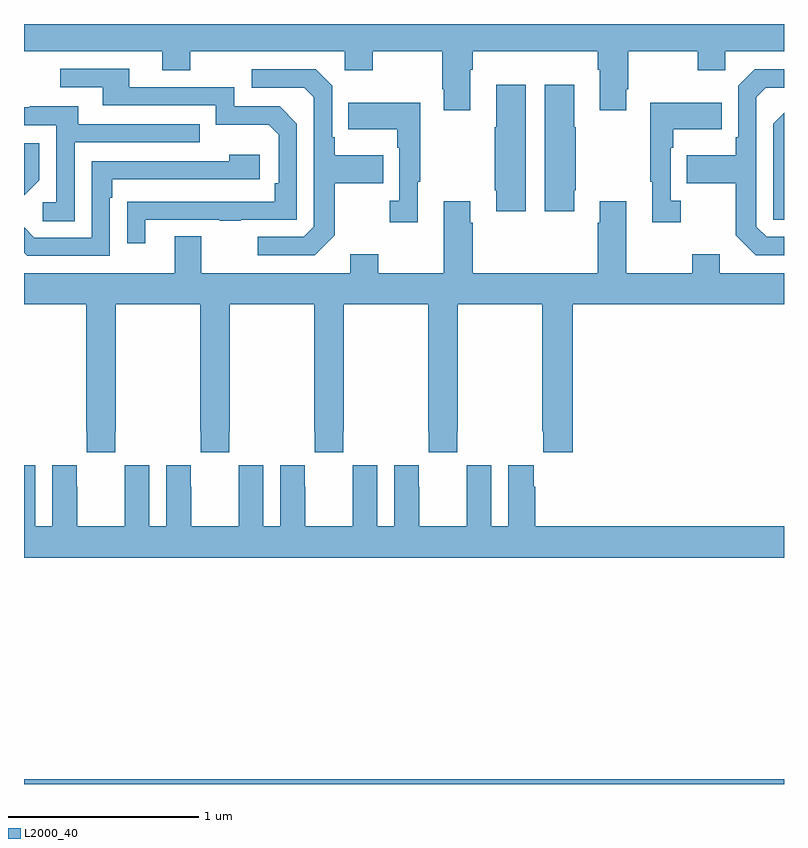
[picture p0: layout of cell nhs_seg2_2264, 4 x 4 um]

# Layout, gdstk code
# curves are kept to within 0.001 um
import gdstk
lib = gdstk.Library(unit=1e-6, precision=1e-09)
def R(c, l, rs):  # rectangles x0, y0, x1, y1
    for r in rs: c.add(gdstk.rectangle(r[:2], r[2:], *l))
def P(c, l, *ps):  # polygons
    for p in ps: c.add(gdstk.Polygon(p, *l))
L2000_40 = (2000, 40)

nhs_seg2_2264 = lib.new_cell('nhs_seg2_2264')
R(nhs_seg2_2264, L2000_40, [(229,623.8,233,623.824)])
P(nhs_seg2_2264, L2000_40, [(231.349,627.56),(231.362,627.56),(231.362,627.656),(232.019,627.656),(232.019,627.56),(232.031,627.56),(232.031,627.345),(232.171,627.345),(232.171,627.457),(232.179,627.457),(232.179,627.656),(232.546,627.656),(232.546,627.557),(232.692,627.557),(232.692,627.656),(233,627.656),(233,627.8),(229,627.8),(229,627.656),(229.727,627.656),(229.727,627.557),(229.875,627.557),(229.875,627.656),(230.688,627.656),(230.688,627.557),(230.835,627.557),(230.835,627.656),(231.202,627.656),(231.202,627.457),(231.209,627.457),(231.209,627.345),(231.349,627.345)],
  [(229.639,626.769),(230.029,626.769),(230.029,626.764),(230.141,626.764),(230.141,626.769),(230.436,626.769),(230.436,627.276),(230.346,627.366),(230.106,627.366),(230.106,627.468),(229.555,627.468),(229.555,627.564),(229.191,627.564),(229.191,627.468),(229.415,627.468),(229.415,627.372),(230.01,627.372),(230.01,627.269),(230.287,627.269),(230.34,627.216),(230.34,626.962),(230.32,626.962),(230.32,626.865),(229.543,626.864),(229.543,626.646),(229.639,626.646)],
  [(230.635,626.689),(230.635,626.962),(230.891,626.962),(230.891,627.109),(230.635,627.109),(230.635,627.205),(230.622,627.205),(230.622,627.474),(230.535,627.561),(230.199,627.561),(230.199,627.465),(230.475,627.465),(230.526,627.414),(230.526,626.733),(230.472,626.679),(230.229,626.679),(230.229,626.583),(230.529,626.583)],
  [(233,626.679),(232.908,626.679),(232.854,626.733),(232.854,627.414),(232.905,627.465),(233,627.465),(233,627.561),(232.845,627.561),(232.758,627.474),(232.758,627.205),(232.746,627.205),(232.746,627.109),(232.489,627.109),(232.489,626.962),(232.746,626.962),(232.746,626.689),(232.851,626.583),(233,626.583)],
  [(231.895,626.926),(231.903,626.926),(231.903,627.257),(231.895,627.257),(231.895,627.481),(231.74,627.481),(231.74,626.814),(231.895,626.814)],
  [(231.64,627.481),(231.485,627.481),(231.485,627.257),(231.478,627.257),(231.478,626.926),(231.485,626.926),(231.485,626.814),(231.64,626.814)],
  [(231.073,626.969),(231.085,626.969),(231.085,627.385),(230.707,627.385),(230.707,627.245),(230.964,627.245),(230.964,627.149),(230.976,627.149),(230.976,626.87),(230.925,626.87),(230.925,626.757),(231.073,626.757)],
  [(232.456,626.87),(232.404,626.87),(232.404,627.149),(232.417,627.149),(232.417,627.245),(232.673,627.245),(232.673,627.385),(232.296,627.385),(232.296,626.969),(232.307,626.969),(232.307,626.757),(232.456,626.757)],
  [(229.266,627.177),(229.925,627.177),(229.925,627.273),(229.285,627.273),(229.285,627.367),(229.031,627.367),(229.031,627.363),(229,627.363),(229,627.267),(229.17,627.267),(229.17,626.862),(229.098,626.862),(229.098,626.761),(229.266,626.761)],
  [(233,627.332),(232.944,627.276),(232.944,626.769),(233,626.769)],
  [(229.08,626.978),(229.08,627.172),(229,627.172),(229,626.898)],
  [(229.452,626.885),(229.465,626.885),(229.465,626.982),(230.242,626.982),(230.242,627.112),(230.081,627.112),(230.081,627.078),(229.356,627.078),(229.356,626.676),(229.053,626.676),(229,626.729),(229,626.597),(229.017,626.58),(229.452,626.58)],
  [(229.479,625.657),(229.482,625.657),(229.482,626.324),(229.927,626.324),(229.927,625.657),(229.929,625.657),(229.929,625.545),(230.079,625.545),(230.079,625.657),(230.082,625.657),(230.082,626.324),(230.527,626.324),(230.527,625.657),(230.529,625.657),(230.529,625.545),(230.679,625.545),(230.679,625.657),(230.682,625.657),(230.682,626.324),(231.127,626.324),(231.127,625.657),(231.129,625.657),(231.129,625.545),(231.279,625.545),(231.279,625.657),(231.282,625.657),(231.282,626.324),(231.727,626.324),(231.727,625.657),(231.733,625.657),(231.733,625.545),(231.887,625.545),(231.887,626.324),(233,626.324),(233,626.488),(232.663,626.488),(232.663,626.587),(232.516,626.587),(232.516,626.488),(232.171,626.488),(232.171,626.866),(232.031,626.866),(232.031,626.753),(232.019,626.753),(232.019,626.488),(231.362,626.488),(231.362,626.753),(231.349,626.753),(231.349,626.866),(231.209,626.866),(231.209,626.488),(230.865,626.488),(230.865,626.587),(230.717,626.587),(230.717,626.488),(229.933,626.488),(229.933,626.683),(229.793,626.683),(229.793,626.488),(229,626.488),(229,626.324),(229.327,626.324),(229.327,625.657),(229.329,625.657),(229.329,625.545),(229.479,625.545)],
  [(233,625.156),(231.692,625.156),(231.692,625.364),(231.682,625.364),(231.682,625.477),(231.548,625.477),(231.548,625.156),(231.46,625.156),(231.46,625.477),(231.33,625.477),(231.33,625.364),(231.329,625.364),(231.329,625.156),(231.079,625.156),(231.079,625.364),(231.078,625.364),(231.078,625.477),(230.948,625.477),(230.948,625.156),(230.86,625.156),(230.86,625.477),(230.73,625.477),(230.73,625.364),(230.729,625.364),(230.729,625.156),(230.479,625.156),(230.479,625.364),(230.478,625.364),(230.478,625.477),(230.348,625.477),(230.348,625.156),(230.26,625.156),(230.26,625.477),(230.13,625.477),(230.13,625.364),(230.129,625.364),(230.129,625.156),(229.879,625.156),(229.879,625.364),(229.878,625.364),(229.878,625.477),(229.748,625.477),(229.748,625.156),(229.66,625.156),(229.66,625.477),(229.53,625.477),(229.53,625.364),(229.529,625.364),(229.529,625.156),(229.279,625.156),(229.279,625.364),(229.278,625.364),(229.278,625.477),(229.148,625.477),(229.148,625.156),(229.06,625.156),(229.06,625.477),(229,625.477),(229,624.992),(233,624.992)])

lib.write_gds('nhs_seg2_2264.gds')
